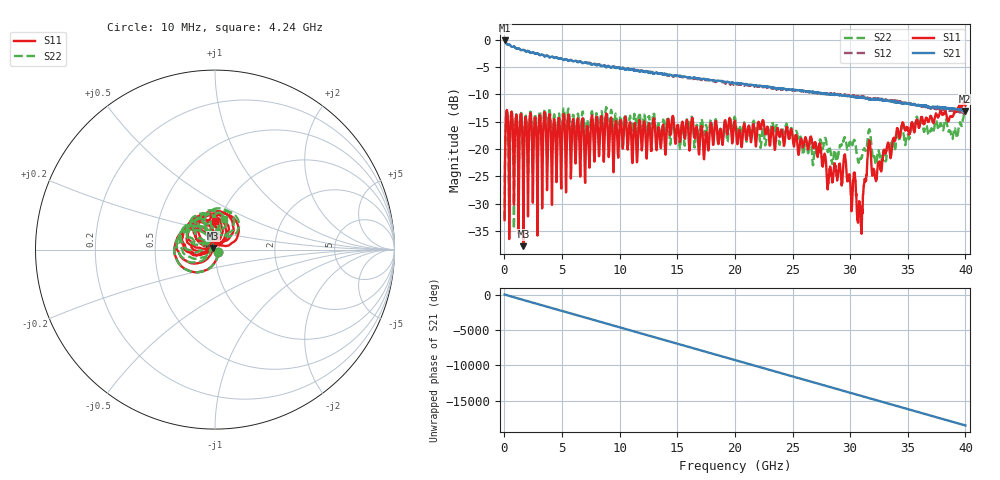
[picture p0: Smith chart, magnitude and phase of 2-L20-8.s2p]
! 2/21/2025 7:16:14 AM
! Z:\OQC\AD5\613\LOT-141-0825\SINGLE\2-L20-8.S2P
! CHANNEL.1
! TR.MEASUREMENT
! CORRECTED.DATA
! RF.CORRECTION: FULL.FOUR.PORT.CAL.PORT.1.2.3.4
! AVERAGING.OFF
! IF.BANDWIDTH: 1KHZ
! SWEEPTYPE:  FREQ.SWEEP(Linear)
! Reference Plane Port Info
! PORT:  PORT1  PORT2
! DISTANCE:  0  m  0  m
! TIME:  0  s  0  s
! PHASE.OFFSET:  0 °  0 °
! LOSS:  0  dB  0  dB
! REF.LOSS:  0  dB  0  dB
! REF.FREQ:  0  Hz  0  Hz
! Power Info
! POWER:  -10  dBm  -10  dBm
! EFF.POWER:  -10  dBm  -10  dBm
! SOURCE.ATTEN:  0  dB  0  dB
! TEST.ATTEN:  0  dB  0  dB
# GHZ S RI R 50.0
! FREQ.GHZ  S11RE  S11IM  S21RE  S21IM  S12RE  S12IM  S22RE  S22IM
!; PortSelection: Port_12
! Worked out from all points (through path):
!   4000 points, 10 MHz to 40 GHz, reference 50 ohm
!   highest |S21| = -0.16 dB at 10 MHz (marker M1); lowest = -13.0 dB at 39.93 GHz (marker M2)
!   group delay of S21, straight-line fit = 1.28 ns
!   lowest |S11| = -37.8 dB at 1.64 GHz (marker M3), VSWR 1.03, Z = 49.1 + j0.874 ohm
!   |S11| at or under -10 dB: start of sweep to end of sweep
!   |S22| runs from -34.7 to -12.4 dB; largest |S21 - S12| = 0.018
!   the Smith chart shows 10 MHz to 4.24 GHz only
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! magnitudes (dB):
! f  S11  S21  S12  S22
! 10 MHz  -33.0  -0.2  -0.2  -32.9
! 190 MHz  -12.9  -0.8  -0.8  -12.9
! 1.64 GHz  -37.8  -1.9  -1.8  -24.5
! 6.68 GHz  -16.7  -4.2  -4.1  -15.0
! 13.34 GHz  -16.2  -6.2  -6.2  -15.5
! 14.56 GHz  -14.3  -6.6  -6.6  -14.6
! 17.45 GHz  -17.5  -7.3  -7.4  -15.9
! 20.01 GHz  -15.1  -8.0  -8.3  -14.4
! 24.42 GHz  -16.5  -9.1  -9.1  -15.8
! 26.67 GHz  -18.4  -9.5  -9.7  -20.3
! 28.13 GHz  -25.8  -10.0  -10.0  -20.3
! 29.58 GHz  -21.6  -10.3  -10.1  -18.3
! 30.02 GHz  -26.4  -10.4  -10.2  -18.8
! 30.4 GHz  -24.4  -10.5  -10.3  -18.5
! 30.81 GHz  -30.7  -10.6  -10.4  -22.1
! 31.63 GHz  -18.6  -10.9  -10.7  -16.6
! 32.12 GHz  -24.6  -11.0  -11.0  -21.6
! 33.34 GHz  -19.1  -11.3  -11.1  -18.8
! 35.76 GHz  -14.7  -12.0  -12.1  -14.2
! 38.8 GHz  -14.1  -12.6  -12.9  -17.7
! 39.93 GHz  -11.6  -13.0  -13.4  -13.5
! 40 GHz  -12.1  -13.0  -13.4  -13.8
